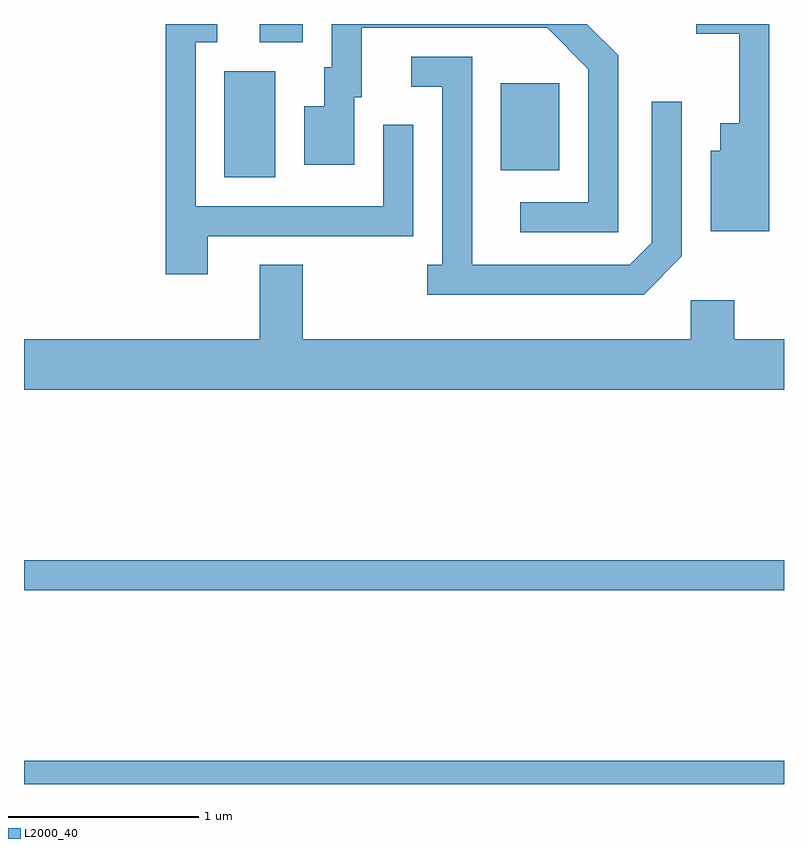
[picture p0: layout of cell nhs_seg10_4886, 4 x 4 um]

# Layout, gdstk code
import gdstk
lib = gdstk.Library(unit=1e-6, precision=1e-09)
def R(c, l, rs):  # rectangles x0, y0, x1, y1
    for r in rs: c.add(gdstk.rectangle(r[:2], r[2:], *l))
def P(c, l, *ps):  # polygons
    for p in ps: c.add(gdstk.Polygon(p, *l))
L2000_40 = (2000, 40)

nhs_seg10_4886 = lib.new_cell('nhs_seg10_4886')
R(nhs_seg10_4886, L2000_40, [(329.611,2098.522,333.611,2098.644), (329.611,2099.541,333.611,2099.699), (330.666,2101.716,330.934,2102.274), (332.121,2101.751,332.429,2102.209), (330.851,2102.426,331.079,2102.522)])
P(nhs_seg10_4886, L2000_40, [(330.579,2101.406),(331.659,2101.406),(331.659,2101.993),(331.501,2101.993),(331.501,2101.564),(330.514,2101.564),(330.514,2102.426),(330.628,2102.426),(330.628,2102.522),(330.356,2102.522),(330.356,2101.206),(330.579,2101.206)],
  [(333.534,2102.522),(333.148,2102.522),(333.148,2102.471),(333.376,2102.471),(333.376,2101.999),(333.276,2101.999),(333.276,2101.854),(333.226,2101.854),(333.226,2101.431),(333.534,2101.431)],
  [(332.739,2102.357),(332.574,2102.522),(331.231,2102.522),(331.231,2102.294),(331.191,2102.294),(331.191,2102.089),(331.086,2102.089),(331.086,2101.781),(331.349,2101.781),(331.349,2102.136),(331.389,2102.136),(331.389,2102.501),(332.364,2102.501),(332.581,2102.284),(332.581,2101.584),(332.223,2101.584),(332.223,2101.426),(332.739,2101.426)],
  [(333.074,2101.299),(333.074,2102.113),(332.916,2102.113),(332.916,2101.372),(332.799,2101.254),(331.969,2101.254),(331.969,2102.349),(331.648,2102.349),(331.648,2102.191),(331.811,2102.191),(331.811,2101.254),(331.733,2101.254),(331.733,2101.096),(332.872,2101.096)],
  [(333.611,2100.864),(333.349,2100.864),(333.349,2101.069),(333.121,2101.069),(333.121,2100.864),(331.079,2100.864),(331.079,2101.254),(330.851,2101.254),(330.851,2100.864),(329.611,2100.864),(329.611,2100.596),(333.611,2100.596)])

lib.write_gds('nhs_seg10_4886.gds')
